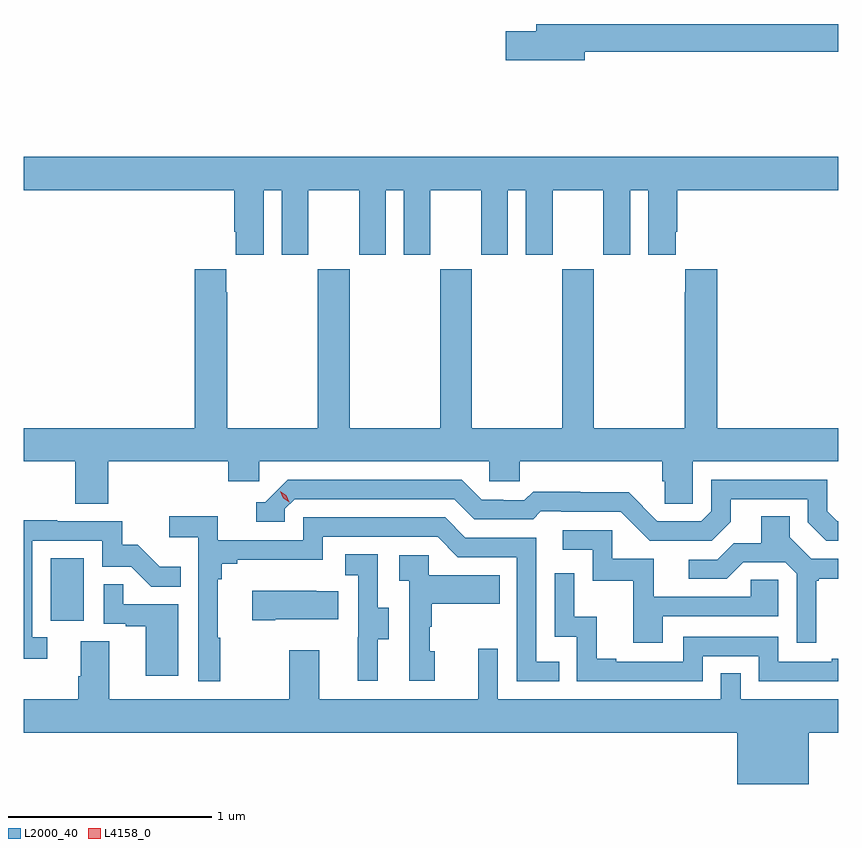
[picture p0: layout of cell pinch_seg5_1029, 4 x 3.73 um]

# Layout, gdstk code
import gdstk
lib = gdstk.Library(unit=1e-6, precision=1e-09)
def R(c, l, rs):  # rectangles x0, y0, x1, y1
    for r in rs: c.add(gdstk.rectangle(r[:2], r[2:], *l))
def P(c, l, *ps):  # polygons
    for p in ps: c.add(gdstk.Polygon(p, *l))
L2000_40 = (2000, 40)
L4158_0 = (4158, 0)

pinch_seg5_1029 = lib.new_cell('pinch_seg5_1029')
R(pinch_seg5_1029, L2000_40, [(855.074,854.646,855.238,854.953)])
P(pinch_seg5_1029, L2000_40, [(857.698,857.44),(858.942,857.44),(858.942,857.576),(857.459,857.576),(857.459,857.54),(857.31,857.54),(857.31,857.398),(857.698,857.398)],
  [(856.12,856.76),(856.208,856.76),(856.208,856.443),(856.339,856.443),(856.339,856.76),(856.589,856.76),(856.589,856.443),(856.72,856.443),(856.72,856.76),(856.808,856.76),(856.808,856.443),(856.939,856.443),(856.939,856.76),(857.189,856.76),(857.189,856.443),(857.32,856.443),(857.32,856.76),(857.408,856.76),(857.408,856.443),(857.539,856.443),(857.539,856.76),(857.789,856.76),(857.789,856.443),(857.92,856.443),(857.92,856.76),(858.008,856.76),(858.008,856.443),(858.145,856.443),(858.145,856.555),(858.152,856.555),(858.152,856.76),(858.942,856.76),(858.942,856.924),(854.942,856.924),(854.942,856.76),(855.977,856.76),(855.977,856.555),(855.983,856.555),(855.983,856.443),(856.12,856.443)],
  [(855.356,855.428),(855.947,855.428),(855.947,855.33),(856.098,855.33),(856.098,855.428),(857.229,855.428),(857.229,855.33),(857.379,855.33),(857.379,855.428),(858.077,855.428),(858.077,855.33),(858.091,855.33),(858.091,855.22),(858.228,855.22),(858.228,855.428),(858.942,855.428),(858.942,855.592),(858.347,855.592),(858.347,856.372),(858.191,856.372),(858.191,856.259),(858.187,856.259),(858.187,855.592),(857.742,855.592),(857.742,856.372),(857.587,856.372),(857.587,855.592),(857.142,855.592),(857.142,856.372),(856.987,856.372),(856.987,855.592),(856.542,855.592),(856.542,856.372),(856.387,856.372),(856.387,855.592),(855.942,855.592),(855.942,856.259),(855.937,856.259),(855.937,856.372),(855.782,856.372),(855.782,855.592),(854.942,855.592),(854.942,855.428),(855.196,855.428),(855.196,855.22),(855.356,855.22)],
  [(858.415,855.133),(858.415,855.243),(858.792,855.243),(858.792,855.129),(858.882,855.039),(858.942,855.039),(858.942,855.135),(858.936,855.135),(858.888,855.183),(858.888,855.339),(858.318,855.339),(858.318,855.183),(858.27,855.135),(858.054,855.135),(857.912,855.277),(857.676,855.277),(857.676,855.28),(857.443,855.28),(857.401,855.237),(857.298,855.237),(857.298,855.24),(857.191,855.24),(857.092,855.339),(856.239,855.339),(856.128,855.228),(856.085,855.228),(856.085,855.132),(856.224,855.132),(856.224,855.195),(856.272,855.243),(857.055,855.243),(857.154,855.144),(857.443,855.144),(857.482,855.183),(857.581,855.183),(857.581,855.18),(857.874,855.18),(858.015,855.039),(858.321,855.039)],
  [(858.835,854.841),(858.847,854.841),(858.847,854.852),(858.942,854.852),(858.942,854.949),(858.81,854.949),(858.703,855.056),(858.703,855.158),(858.563,855.158),(858.563,855.026),(858.428,855.026),(858.348,854.946),(858.207,854.946),(858.207,854.853),(858.394,854.853),(858.475,854.934),(858.681,854.934),(858.738,854.877),(858.738,854.538),(858.835,854.538)],
  [(855.907,854.561),(855.895,854.561),(855.895,854.849),(855.914,854.849),(855.914,854.926),(855.991,854.926),(855.991,854.945),(856.41,854.945),(856.41,855.057),(856.974,855.057),(857.073,854.958),(857.364,854.958),(857.364,854.349),(857.573,854.349),(857.573,854.445),(857.46,854.445),(857.46,855.054),(857.11,855.054),(857.011,855.153),(856.314,855.153),(856.314,855.042),(855.896,855.042),(855.896,855.158),(855.657,855.158),(855.657,855.056),(855.798,855.056),(855.798,854.349),(855.907,854.349)],
  [(855.058,854.565),(854.985,854.565),(854.985,855.039),(855.327,855.039),(855.327,854.91),(855.471,854.91),(855.569,854.812),(855.713,854.812),(855.713,854.911),(855.609,854.911),(855.502,855.018),(855.426,855.018),(855.426,855.135),(855.107,855.135),(855.107,855.14),(854.942,855.14),(854.942,854.46),(855.058,854.46)],
  [(858.079,854.667),(858.648,854.667),(858.648,854.847),(858.511,854.847),(858.511,854.763),(858.037,854.763),(858.037,854.949),(857.832,854.949),(857.832,855.09),(857.589,855.09),(857.589,854.994),(857.736,854.994),(857.736,854.841),(857.935,854.841),(857.935,854.538),(858.079,854.538)],
  [(856.681,854.554),(856.735,854.554),(856.735,854.709),(856.68,854.709),(856.68,854.972),(856.521,854.972),(856.521,854.869),(856.584,854.869),(856.584,854.565),(856.583,854.565),(856.583,854.352),(856.681,854.352)],
  [(856.96,854.496),(856.935,854.496),(856.935,854.615),(856.945,854.615),(856.945,854.729),(857.279,854.729),(857.279,854.869),(856.932,854.869),(856.932,854.967),(856.785,854.967),(856.785,854.843),(856.836,854.843),(856.836,854.352),(856.96,854.352)],
  [(858.276,854.472),(858.552,854.472),(858.552,854.349),(858.942,854.349),(858.942,854.458),(858.911,854.458),(858.911,854.445),(858.648,854.445),(858.648,854.568),(858.18,854.568),(858.18,854.445),(857.851,854.445),(857.851,854.458),(857.756,854.458),(857.756,854.666),(857.646,854.666),(857.646,854.878),(857.55,854.878),(857.55,854.568),(857.658,854.568),(857.658,854.349),(858.276,854.349)],
  [(855.7,854.727),(855.431,854.727),(855.431,854.825),(855.336,854.825),(855.336,854.631),(855.443,854.631),(855.443,854.619),(855.542,854.619),(855.542,854.376),(855.7,854.376)],
  [(856.177,854.654),(856.487,854.654),(856.487,854.791),(856.379,854.791),(856.379,854.794),(856.065,854.794),(856.065,854.647),(856.177,854.647)],
  [(858.796,854.096),(858.942,854.096),(858.942,854.26),(858.462,854.26),(858.462,854.387),(858.366,854.387),(858.366,854.26),(857.271,854.26),(857.271,854.509),(857.174,854.509),(857.174,854.26),(856.393,854.26),(856.393,854.5),(856.246,854.5),(856.246,854.26),(855.361,854.26),(855.361,854.546),(855.221,854.546),(855.221,854.372),(855.209,854.372),(855.209,854.26),(854.942,854.26),(854.942,854.096),(858.446,854.096),(858.446,853.844),(858.796,853.844)])
P(pinch_seg5_1029, L4158_0, [(856.247,855.228),(856.216,855.248),(856.201,855.282),(856.201,855.282),(856.201,855.282),(856.232,855.261),(856.247,855.228),(856.247,855.228)])

lib.write_gds('pinch_seg5_1029.gds')
